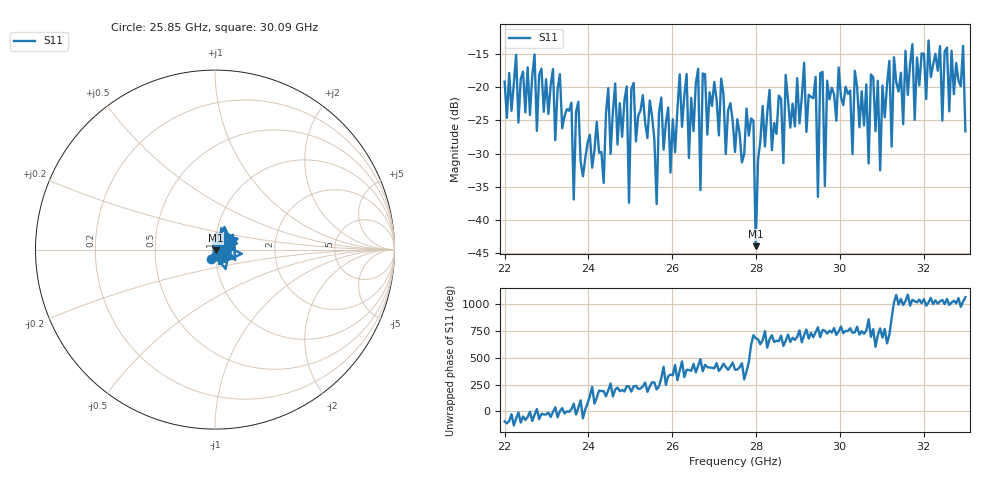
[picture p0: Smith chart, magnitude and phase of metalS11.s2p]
!Keysight Technologies,N5224B,MY57181201,A.12.70.07
!Date: Friday, July 15, 2022 12:00:35
!Correction: S11(Off)
!S21(Off)
!S12(Off)
!S22(Off)
!S2P File: Measurements: S11, S21, S12, S22:
# Hz S  dB  R 50
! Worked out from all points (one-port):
!   201 points, 22 GHz to 33 GHz, reference 50 ohm
!   lowest |S11| = -43.9 dB at 28 GHz (marker M1), VSWR 1.01, Z = 50.5 - j0.392 ohm
!   |S11| at or under -10 dB: start of sweep to end of sweep
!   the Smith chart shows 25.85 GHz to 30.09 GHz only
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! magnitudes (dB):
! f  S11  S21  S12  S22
! 22 GHz  -19.2  -  -  -
! 23.87 GHz  -33.4  -  -  -
! 24.91 GHz  -19.9  -  -  -
! 24.97 GHz  -37.4  -  -  -
! 25.08 GHz  -19.4  -  -  -
! 25.63 GHz  -37.6  -  -  -
! 25.68 GHz  -23.9  -  -  -
! 27.5 GHz  -29.8  -  -  -
! 27.94 GHz  -25.1  -  -  -
! 28 GHz  -43.9  -  -  -
! 28.16 GHz  -22.9  -  -  -
! 29.37 GHz  -21.7  -  -  -
! 29.48 GHz  -36.5  -  -  -
! 29.59 GHz  -17.7  -  -  -
! 29.64 GHz  -34.9  -  -  -
! 29.7 GHz  -19.1  -  -  -
! 29.98 GHz  -17.1  -  -  -
! 30.69 GHz  -31.5  -  -  -
! 30.91 GHz  -19.1  -  -  -
! 30.96 GHz  -32.5  -  -  -
! 31.18 GHz  -16.1  -  -  -
! 33 GHz  -26.7  -  -  -
